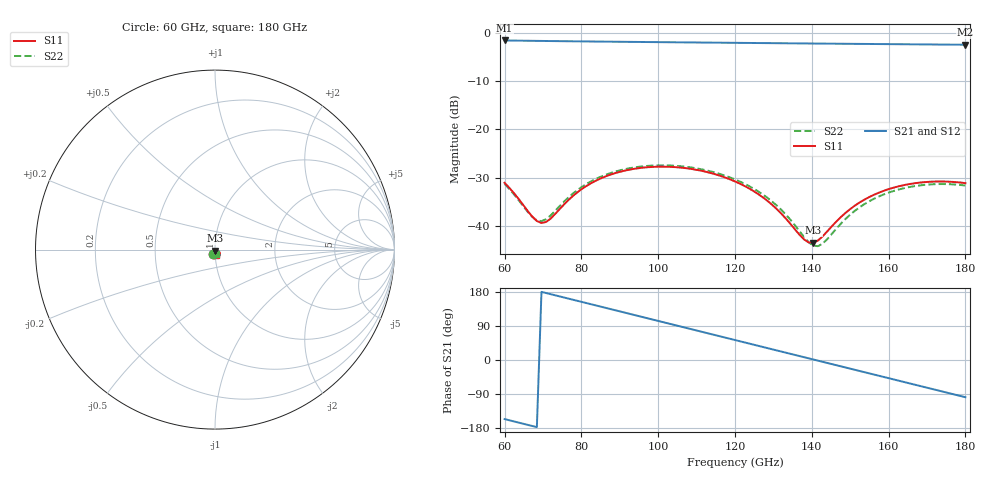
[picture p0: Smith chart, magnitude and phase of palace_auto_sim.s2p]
#  GHZ S DB R 50
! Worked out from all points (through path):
!   101 points, 60 GHz to 180 GHz, reference 50 ohm
!   highest |S21| = -1.62 dB at 60 GHz (marker M1); lowest = -2.5 dB at 180 GHz (marker M2)
!   group delay of S21, straight-line fit = 7 ps
!   lowest |S11| = -43.4 dB at 140.4 GHz (marker M3), VSWR 1.01, Z = 50.3 - j0.619 ohm
!   |S11| at or under -10 dB: start of sweep to end of sweep
!   |S22| runs from -44.1 to -27.4 dB; largest |S21 - S12| = 8.6e-14
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60  -31.05 -110.2  -1.62 -155.9  -1.62 -155.9  -31.27 -108.6
67.2  -38.03 -91.0  -1.69 -174.2  -1.69 -174.2  -38.08 -85.9
69.6  -39.34 -68.3  -1.72 179.8  -1.72 179.8  -38.96 -62.8
72  -38.42 -45.7  -1.74 173.7  -1.74 173.7  -37.77 -42.4
80.4  -32.16 -27.4  -1.82 152.5  -1.82 152.5  -31.74 -27.4
85.2  -30.08 -32.7  -1.85 140.4  -1.85 140.4  -29.73 -33.0
91.2  -28.54 -43.0  -1.90 125.3  -1.90 125.3  -28.24 -43.3
100.8  -27.71 -62.1  -1.97 101.1  -1.97 101.1  -27.43 -62.7
110.4  -28.42 -82.1  -2.04 76.9  -2.04 76.9  -28.11 -82.8
120  -30.75 -100.7  -2.11 52.7  -2.11 52.7  -30.34 -102.1
124.8  -32.73 -108.3  -2.14 40.6  -2.14 40.6  -32.22 -110.3
129.6  -35.54 -112.8  -2.18 28.5  -2.18 28.5  -34.86 -116.1
133.2  -38.39 -111.0  -2.20 19.4  -2.20 19.4  -37.56 -116.7
138  -42.75 -89.2  -2.24 7.4  -2.24 7.4  -42.25 -102.6
140.4  -43.44 -66.2  -2.25 1.3  -2.25 1.3  -44.03 -81.8
142.8  -42.12 -46.0  -2.27 -4.7  -2.27 -4.7  -43.63 -56.9
147.6  -38.10 -30.9  -2.30 -16.8  -2.30 -16.8  -39.46 -33.8
151.2  -35.76 -31.0  -2.32 -25.8  -2.32 -25.8  -36.84 -32.0
156  -33.58 -36.3  -2.35 -37.9  -2.35 -37.9  -34.42 -36.6
160.8  -32.15 -44.2  -2.38 -50.0  -2.38 -50.0  -32.85 -44.2
170.4  -30.84 -62.9  -2.44 -74.1  -2.44 -74.1  -31.40 -62.7
180  -31.11 -82.4  -2.51 -98.2  -2.51 -98.2  -31.60 -82.2
